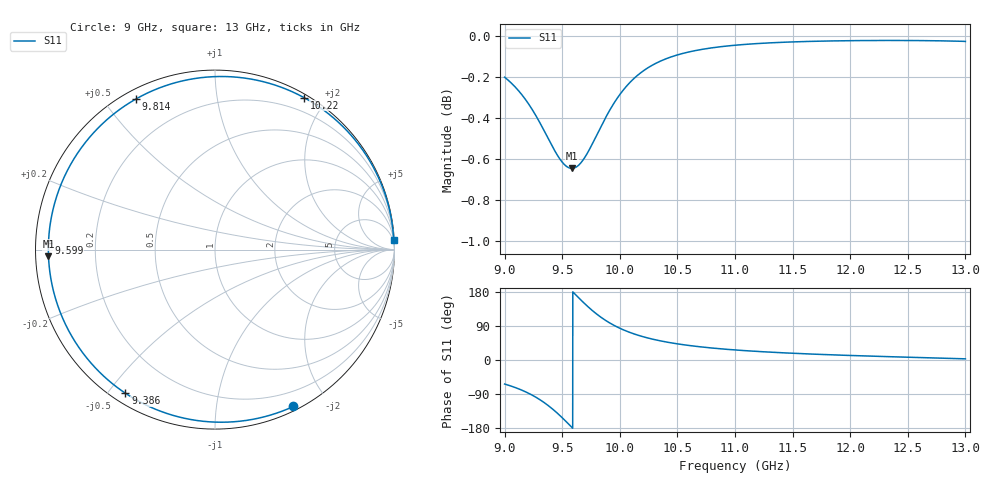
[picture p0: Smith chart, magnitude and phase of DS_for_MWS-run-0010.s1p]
! TOUCHSTONE file generated by CST DESIGN STUDIO
! Date and time: Tue Feb  4 16:21:55 2025
! Project name: C:\Work\MatlabApps\UnitCellOptimizationMatlab\CST\unitcell.cst
! Tree item: Tasks\Sweep1\SPara1\S-Parameters
! Header version: 2024
! Port assignment regex: !\s*Touchstone port\s*([0-9]+)\s*=\s*(CST MWS port|CST DES external port|CST DES block port)\s*(.+)\s* \(\"(.*)\"\)(\s*mode\s*([0-9]+))?.*
! Touchstone port assignment:
! Touchstone port 1 = CST DES external port 1 ("")
# GHz S MA R 50
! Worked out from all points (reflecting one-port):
!   4001 points, 9 GHz to 13 GHz, reference 50 ohm
!   lowest |S11| = -0.6 dB at 9.584 GHz (marker M1), VSWR 26.94, Z = 1.86 - j0.979 ohm
!   phase of S11 starts at -63 deg and turns -294 deg over the sweep
!   S11 on the Smith chart (normalised r, x): 9 GHz: 0.04, -1.62; 9.386 GHz: 0.04, -0.55; 9.599 GHz: 0.04, +0.02; 9.814 GHz: 0.04, +0.60; 10.22 GHz: 0.04, +1.75; 13 GHz: 2, +37
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9  0.977 -63.4
9.049  0.9744 -68.1
9.118  0.9699 -75.7
9.236  0.9599 -92.2
9.316  0.9513 -106.6
9.386  0.9432 -122.0
9.442  0.9369 -136.1
9.5  0.9317 -152.3
9.543  0.9292 -165.2
9.584  0.9284 -177.8
9.599  0.9285 177.6
9.654  0.9308 160.8
9.714  0.9359 143.3
9.764  0.9415 129.9
9.814  0.9476 117.8
9.855  0.9526 108.9
9.898  0.9576 100.4
10  0.9676 83.8
10.107  0.9754 70.6
10.224  0.9814 59.6
10.351  0.9858 50.6
10.5  0.9893 42.6
10.72  0.9924 34.1
11  0.9947 26.5
11.5  0.9965 17.8
12  0.9972 12.0
12.5  0.9973 7.4
13  0.9968 3.1
